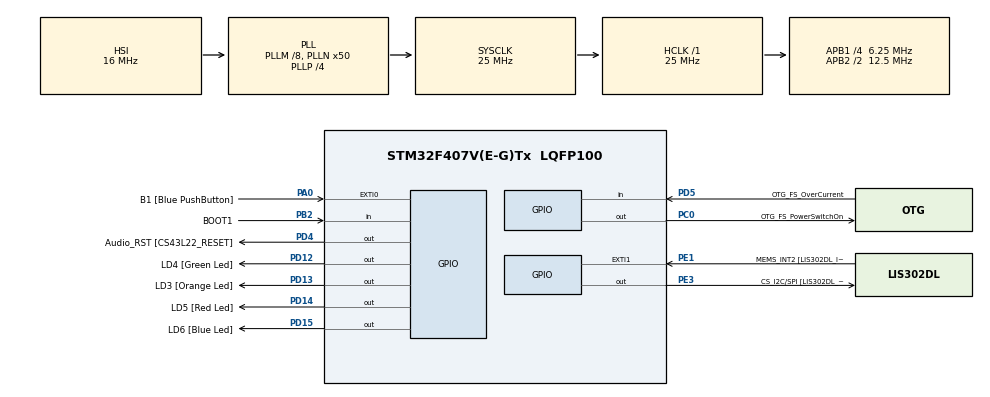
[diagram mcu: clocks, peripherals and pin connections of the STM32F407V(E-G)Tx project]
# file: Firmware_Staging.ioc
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Mcu.Family=STM32F4
Mcu.Name=STM32F407V(E-G)Tx
Mcu.Package=LQFP100
NVIC.PriorityGroup=NVIC_PRIORITYGROUP_0
PA0-WKUP.GPIO_Label=B1 [Blue PushButton]
PA0-WKUP.Signal=GPXTI0
PA10.GPIO_Label=OTG_FS_ID
PA10.GPIO_Mode=GPIO_MODE_AF_PP
PA10.GPIO_PuPd=GPIO_NOPULL
PA10.GPIO_Speed=GPIO_SPEED_FREQ_LOW
PA10.Signal=USB_OTG_FS_ID
PA11.GPIO_Label=OTG_FS_DM
PA11.GPIO_Mode=GPIO_MODE_AF_PP
PA11.GPIO_PuPd=GPIO_NOPULL
PA11.GPIO_Speed=GPIO_SPEED_FREQ_LOW
PA11.Signal=USB_OTG_FS_DM
PA12.GPIO_Label=OTG_FS_DP
PA12.GPIO_Mode=GPIO_MODE_AF_PP
PA12.GPIO_PuPd=GPIO_NOPULL
PA12.GPIO_Speed=GPIO_SPEED_FREQ_LOW
PA12.Signal=USB_OTG_FS_DP
PA13.GPIO_Label=SWDIO
PA13.Signal=SYS_JTMS-SWDIO
PA14.GPIO_Label=SWCLK
PA14.Signal=SYS_JTCK-SWCLK
PA4.GPIO_Label=I2S3_WS [CS43L22_LRCK]
PA4.GPIO_Mode=GPIO_MODE_AF_PP
PA4.GPIO_PuPd=GPIO_NOPULL
PA4.GPIO_Speed=GPIO_SPEED_FREQ_LOW
PA4.Signal=I2S3_WS
PA5.GPIO_Label=SPI1_SCK [LIS302DL_SCL/SPC]
PA5.GPIO_Mode=GPIO_MODE_AF_PP
PA5.GPIO_PuPd=GPIO_NOPULL
PA5.GPIO_Speed=GPIO_SPEED_FREQ_LOW
PA5.Signal=SPI1_SCK
PA6.GPIO_Label=SPI1_MISO [LIS302DL_SDO]
PA6.GPIO_Mode=GPIO_MODE_AF_PP
PA6.GPIO_PuPd=GPIO_NOPULL
PA6.GPIO_Speed=GPIO_SPEED_FREQ_LOW
PA6.Signal=SPI1_MISO
PA7.GPIO_Label=SPI1_MOSI [LIS302DL_SDA/SDI/SDO]
PA7.GPIO_Mode=GPIO_MODE_AF_PP
PA7.GPIO_PuPd=GPIO_NOPULL
PA7.GPIO_Speed=GPIO_SPEED_FREQ_LOW
PA7.Signal=SPI1_MOSI
PA9.GPIO_Label=VBUS_FS
PA9.GPIO_Mode=GPIO_MODE_INPUT
PA9.GPIO_PuPd=GPIO_NOPULL
PA9.Signal=USB_OTG_FS_VBUS
PB10.GPIO_Label=CLK_IN [MP45DT02_CLK]
PB10.GPIO_Mode=GPIO_MODE_AF_PP
PB10.GPIO_PuPd=GPIO_NOPULL
PB10.GPIO_Speed=GPIO_SPEED_FREQ_LOW
PB10.Signal=I2S2_CK
PB2.GPIO_Label=BOOT1
PB2.GPIO_Mode=GPIO_MODE_INPUT
PB2.GPIO_PuPd=GPIO_NOPULL
PB2.Signal=GPIO_Input
PB3.GPIO_Label=SWO
PB3.Signal=SYS_JTDO-SWO
PB6.GPIO_Label=Audio_SCL [CS43L22_SCL]
PB6.GPIO_Mode=GPIO_MODE_AF_OD
PB6.GPIO_PuPd=GPIO_NOPULL
PB6.GPIO_Speed=GPIO_SPEED_FREQ_LOW
PB6.Signal=I2C1_SCL
PB9.GPIO_Label=Audio_SDA [CS43L22_SDA]
PB9.GPIO_Mode=GPIO_MODE_AF_OD
PB9.GPIO_PuPd=GPIO_NOPULL
PB9.GPIO_Speed=GPIO_SPEED_FREQ_LOW
PB9.Signal=I2C1_SDA
PC0.GPIO_Label=OTG_FS_PowerSwitchOn
PC0.GPIO_PuPd=GPIO_NOPULL
PC0.GPIO_Speed=GPIO_SPEED_FREQ_LOW
PC0.PinState=GPIO_PIN_SET
PC0.Signal=GPIO_Output
PC10.GPIO_Label=I2S3_SCK [CS43L22_SCLK]
PC10.GPIO_Mode=GPIO_MODE_AF_PP
PC10.GPIO_PuPd=GPIO_NOPULL
PC10.GPIO_Speed=GPIO_SPEED_FREQ_LOW
PC10.Signal=I2S3_CK
PC12.GPIO_Label=I2S3_SD [CS43L22_SDIN]
PC12.GPIO_Mode=GPIO_MODE_AF_PP
PC12.GPIO_PuPd=GPIO_NOPULL
PC12.GPIO_Speed=GPIO_SPEED_FREQ_LOW
PC12.Signal=I2S3_SD
PC14-OSC32_IN.GPIO_Label=PC14-OSC32_IN
PC14-OSC32_IN.Signal=RCC_OSC32_IN
PC15-OSC32_OUT.GPIO_Label=PC15-OSC32_OUT
PC15-OSC32_OUT.Signal=RCC_OSC32_OUT
PC3.GPIO_Label=PDM_OUT [MP45DT02_DOUT]
PC3.GPIO_Mode=GPIO_MODE_AF_PP
PC3.GPIO_PuPd=GPIO_NOPULL
PC3.GPIO_Speed=GPIO_SPEED_FREQ_LOW
PC3.Signal=I2S2_SD
PC7.GPIO_Label=I2S3_MCK [CS43L22_MCLK]
PC7.GPIO_Mode=GPIO_MODE_AF_PP
PC7.GPIO_PuPd=GPIO_NOPULL
PC7.GPIO_Speed=GPIO_SPEED_FREQ_LOW
PC7.Signal=I2S3_MCK
PD12.GPIO_Label=LD4 [Green Led]
PD12.GPIO_PuPd=GPIO_NOPULL
PD12.GPIO_Speed=GPIO_SPEED_FREQ_LOW
PD12.Signal=GPIO_Output
PD13.GPIO_Label=LD3 [Orange Led]
PD13.GPIO_PuPd=GPIO_NOPULL
PD13.GPIO_Speed=GPIO_SPEED_FREQ_LOW
PD13.Signal=GPIO_Output
PD14.GPIO_Label=LD5 [Red Led]
PD14.GPIO_PuPd=GPIO_NOPULL
PD14.GPIO_Speed=GPIO_SPEED_FREQ_LOW
PD14.Signal=GPIO_Output
PD15.GPIO_Label=LD6 [Blue Led]
PD15.GPIO_PuPd=GPIO_NOPULL
PD15.GPIO_Speed=GPIO_SPEED_FREQ_LOW
PD15.Signal=GPIO_Output
PD4.GPIO_Label=Audio_RST [CS43L22_RESET]
PD4.GPIO_PuPd=GPIO_NOPULL
PD4.GPIO_Speed=GPIO_SPEED_FREQ_LOW
PD4.Signal=GPIO_Output
PD5.GPIO_Label=OTG_FS_OverCurrent
PD5.GPIO_Mode=GPIO_MODE_INPUT
PD5.GPIO_PuPd=GPIO_NOPULL
PD5.Signal=GPIO_Input
PE1.GPIO_Label=MEMS_INT2 [LIS302DL_INT2]
PE1.GPIO_ModeDefaultEXTI=GPIO_MODE_EVT_RISING
PE1.GPIO_PuPd=GPIO_NOPULL
PE1.Signal=GPXTI1
PE3.GPIO_Label=CS_I2C/SPI [LIS302DL_CS_I2C/SPI]
PE3.GPIO_PuPd=GPIO_NOPULL
PE3.GPIO_Speed=GPIO_SPEED_FREQ_LOW
PE3.Signal=GPIO_Output
PH0-OSC_IN.GPIO_Label=PH0-OSC_IN
PH0-OSC_IN.Signal=RCC_OSC_IN
PH1-OSC_OUT.GPIO_Label=PH1-OSC_OUT
PH1-OSC_OUT.Signal=RCC_OSC_OUT
ProjectManager.HeapSize=0x200
ProjectManager.StackSize=0x400
ProjectManager.TargetToolchain=STM32CubeIDE
RCC.48MHZClocksFreq_Value=14285714.285714285
RCC.AHBFreq_Value=25000000
RCC.APB1CLKDivider=RCC_HCLK_DIV4
RCC.APB1Freq_Value=6250000
RCC.APB1TimFreq_Value=12500000
RCC.APB2CLKDivider=RCC_HCLK_DIV2
RCC.APB2Freq_Value=12500000
RCC.APB2TimFreq_Value=25000000
RCC.CortexFreq_Value=25000000
RCC.HCLKFreq_Value=25000000
RCC.HSE_VALUE=8000000
RCC.HSI_VALUE=16000000
RCC.LSE_VALUE=32768
RCC.PLLM=8
RCC.PLLN=50
RCC.PLLP=RCC_PLLP_DIV4
RCC.PLLQ=7
RCC.SYSCLKFreq_VALUE=25000000
RCC.SYSCLKSource=RCC_SYSCLKSOURCE_PLLCLK
RCC.VCOOutputFreq_Value=100000000
VP_CRC_VS_CRC.Mode=CRC_Activate
VP_IWDG_VS_IWDG.Mode=IWDG_Activate
board=STM32F407G-DISC1

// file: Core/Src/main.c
/* USER CODE BEGIN Header */
/**
  ******************************************************************************
  * @file           : main.c
  * @brief          : Main program body
  ******************************************************************************
  * @attention
  *
  * Copyright (c) 2026 STMicroelectronics.
  * All rights reserved.
  *
  * This software is licensed under terms that can be found in the LICENSE file
  * in the root directory of this software component.
  * If no LICENSE file comes with this software, it is provided AS-IS.
  *
  ******************************************************************************
  */
/* USER CODE END Header */
#include "main.h"

/* USER CODE BEGIN Includes */
#include <stdio.h>
#include <string.h>
#include <stdint.h>
#include "metadata.h"
#include "flash_storage.h"
/* USER CODE END Includes */

CRC_HandleTypeDef hcrc;

IWDG_HandleTypeDef hiwdg;

void SystemClock_Config(void);
static void MX_GPIO_Init(void);
static void MX_CRC_Init(void);
static void MX_IWDG_Init(void);
/* USER CODE BEGIN PFP */
static HAL_StatusTypeDef Firmware_Confirm(void);
/* USER CODE END PFP */

/* USER CODE BEGIN 0 */
int __io_putchar(int ch)
{
    ITM_SendChar((uint32_t)ch);
    return ch;
}
/* USER CODE END 0 */

int main(void)
{

  /* USER CODE BEGIN 1 */
  bool firmware_confirmed = false;
  bool New_Update_Available = false;
  /* USER CODE END 1 */

  /* MCU Configuration--------------------------------------------------------*/

  /* Reset of all peripherals, Initializes the Flash interface and the Systick. */
  HAL_Init();

  /* Configure the system clock */
  SystemClock_Config();

  /* Initialize all configured peripherals */
  MX_GPIO_Init();
  MX_CRC_Init();
  MX_IWDG_Init();
  /* USER CODE BEGIN 2 */
  if (Firmware_Confirm() != HAL_OK)
  {
      printf("\r\n[%s] Firmware confirmation failed", CURRENT_SLOT_NAME);
      printf("\r\n[%s] Resetting firmware", CURRENT_SLOT_NAME);

      NVIC_SystemReset();

      while (1)
      {
          /* Wait for reset */
      }
  }

  firmware_confirmed = true;
  /* USER CODE END 2 */

  /* Infinite loop */
  while (1)
  {

    /* USER CODE BEGIN 3 */
	if (HAL_GPIO_ReadPin(B1_GPIO_Port, USER_BUTTON) == GPIO_PIN_SET)
	{
	    HAL_Delay(50);  /* debounce */

	    if (HAL_GPIO_ReadPin(B1_GPIO_Port, USER_BUTTON) == GPIO_PIN_SET)
	    {
	        New_Update_Available = true;

	        printf("\r\n[%s] New Update Available", CURRENT_SLOT_NAME);

	        while (HAL_GPIO_ReadPin(B1_GPIO_Port, USER_BUTTON) == GPIO_PIN_SET)
	        {
	            /* Wait for button release */
	        }
	    }
    }

	if(New_Update_Available){
		printf("\r\n[%s] New Update Available\r\n", CURRENT_SLOT_NAME);
		New_Update_Available = false;

		NVIC_SystemReset();
	}

	if (firmware_confirmed)
	{
		HAL_IWDG_Refresh(&hiwdg);
	}

	HAL_GPIO_TogglePin(GPIOD, ORANGE_LED);
    HAL_Delay(250);
  }
  /* USER CODE END 3 */
}

void SystemClock_Config(void)
{
  RCC_OscInitTypeDef RCC_OscInitStruct = {0};
  RCC_ClkInitTypeDef RCC_ClkInitStruct = {0};

  /** Configure the main internal regulator output voltage
  */
  __HAL_RCC_PWR_CLK_ENABLE();
  __HAL_PWR_VOLTAGESCALING_CONFIG(PWR_REGULATOR_VOLTAGE_SCALE1);

  /** Initializes the RCC Oscillators according to the specified parameters
  * in the RCC_OscInitTypeDef structure.
  */
  RCC_OscInitStruct.OscillatorType = RCC_OSCILLATORTYPE_HSI|RCC_OSCILLATORTYPE_LSI;
  RCC_OscInitStruct.HSIState = RCC_HSI_ON;
  RCC_OscInitStruct.HSICalibrationValue = RCC_HSICALIBRATION_DEFAULT;
  RCC_OscInitStruct.LSIState = RCC_LSI_ON;
  RCC_OscInitStruct.PLL.PLLState = RCC_PLL_ON;
  RCC_OscInitStruct.PLL.PLLSource = RCC_PLLSOURCE_HSI;
  RCC_OscInitStruct.PLL.PLLM = 8;
  RCC_OscInitStruct.PLL.PLLN = 50;
  RCC_OscInitStruct.PLL.PLLP = RCC_PLLP_DIV4;
  RCC_OscInitStruct.PLL.PLLQ = 7;
  if (HAL_RCC_OscConfig(&RCC_OscInitStruct) != HAL_OK)
  {
    Error_Handler();
  }

  /** Initializes the CPU, AHB and APB buses clocks
  */
  RCC_ClkInitStruct.ClockType = RCC_CLOCKTYPE_HCLK|RCC_CLOCKTYPE_SYSCLK
                              |RCC_CLOCKTYPE_PCLK1|RCC_CLOCKTYPE_PCLK2;
  RCC_ClkInitStruct.SYSCLKSource = RCC_SYSCLKSOURCE_PLLCLK;
  RCC_ClkInitStruct.AHBCLKDivider = RCC_SYSCLK_DIV1;
  RCC_ClkInitStruct.APB1CLKDivider = RCC_HCLK_DIV4;
  RCC_ClkInitStruct.APB2CLKDivider = RCC_HCLK_DIV2;

  if (HAL_RCC_ClockConfig(&RCC_ClkInitStruct, FLASH_LATENCY_0) != HAL_OK)
  {
    Error_Handler();
  }
}

static void MX_CRC_Init(void)
{

  hcrc.Instance = CRC;
  if (HAL_CRC_Init(&hcrc) != HAL_OK)
  {
    Error_Handler();
  }

}

static void MX_IWDG_Init(void)
{

  hiwdg.Instance = IWDG;
  hiwdg.Init.Prescaler = IWDG_PRESCALER_4;
  hiwdg.Init.Reload = 4095;
  if (HAL_IWDG_Init(&hiwdg) != HAL_OK)
  {
    Error_Handler();
  }

}

static void MX_GPIO_Init(void)
{
  GPIO_InitTypeDef GPIO_InitStruct = {0};

  /* GPIO Ports Clock Enable */
  __HAL_RCC_GPIOE_CLK_ENABLE();
  __HAL_RCC_GPIOC_CLK_ENABLE();
  __HAL_RCC_GPIOH_CLK_ENABLE();
  __HAL_RCC_GPIOA_CLK_ENABLE();
  __HAL_RCC_GPIOB_CLK_ENABLE();
  __HAL_RCC_GPIOD_CLK_ENABLE();

  /*Configure GPIO pin Output Level */
  HAL_GPIO_WritePin(CS_I2C_SPI_GPIO_Port, CS_I2C_SPI_Pin, GPIO_PIN_RESET);

  /*Configure GPIO pin Output Level */
  HAL_GPIO_WritePin(OTG_FS_PowerSwitchOn_GPIO_Port, OTG_FS_PowerSwitchOn_Pin, GPIO_PIN_SET);

  /*Configure GPIO pin Output Level */
  HAL_GPIO_WritePin(GPIOD, LD4_Pin|LD3_Pin|LD5_Pin|LD6_Pin
                          |Audio_RST_Pin, GPIO_PIN_RESET);

  /*Configure GPIO pin : CS_I2C_SPI_Pin */
  GPIO_InitStruct.Pin = CS_I2C_SPI_Pin;
  GPIO_InitStruct.Mode = GPIO_MODE_OUTPUT_PP;
  GPIO_InitStruct.Pull = GPIO_NOPULL;
  GPIO_InitStruct.Speed = GPIO_SPEED_FREQ_LOW;
  HAL_GPIO_Init(CS_I2C_SPI_GPIO_Port, &GPIO_InitStruct);

  /*Configure GPIO pin : OTG_FS_PowerSwitchOn_Pin */
  GPIO_InitStruct.Pin = OTG_FS_PowerSwitchOn_Pin;
  GPIO_InitStruct.Mode = GPIO_MODE_OUTPUT_PP;
  GPIO_InitStruct.Pull = GPIO_NOPULL;
  GPIO_InitStruct.Speed = GPIO_SPEED_FREQ_LOW;
  HAL_GPIO_Init(OTG_FS_PowerSwitchOn_GPIO_Port, &GPIO_InitStruct);

  /*Configure GPIO pin : PDM_OUT_Pin */
  GPIO_InitStruct.Pin = PDM_OUT_Pin;
  GPIO_InitStruct.Mode = GPIO_MODE_AF_PP;
  GPIO_InitStruct.Pull = GPIO_NOPULL;
  GPIO_InitStruct.Speed = GPIO_SPEED_FREQ_LOW;
  GPIO_InitStruct.Alternate = GPIO_AF5_SPI2;
  HAL_GPIO_Init(PDM_OUT_GPIO_Port, &GPIO_InitStruct);

  /*Configure GPIO pin : B1_Pin */
  GPIO_InitStruct.Pin = B1_Pin;
  GPIO_InitStruct.Mode = GPIO_MODE_IT_RISING;
  GPIO_InitStruct.Pull = GPIO_NOPULL;
  HAL_GPIO_Init(B1_GPIO_Port, &GPIO_InitStruct);

  /*Configure GPIO pin : I2S3_WS_Pin */
  GPIO_InitStruct.Pin = I2S3_WS_Pin;
  GPIO_InitStruct.Mode = GPIO_MODE_AF_PP;
  GPIO_InitStruct.Pull = GPIO_NOPULL;
  GPIO_InitStruct.Speed = GPIO_SPEED_FREQ_LOW;
  GPIO_InitStruct.Alternate = GPIO_AF6_SPI3;
  HAL_GPIO_Init(I2S3_WS_GPIO_Port, &GPIO_InitStruct);

  /*Configure GPIO pins : SPI1_SCK_Pin SPI1_MISO_Pin SPI1_MOSI_Pin */
  GPIO_InitStruct.Pin = SPI1_SCK_Pin|SPI1_MISO_Pin|SPI1_MOSI_Pin;
  GPIO_InitStruct.Mode = GPIO_MODE_AF_PP;
  GPIO_InitStruct.Pull = GPIO_NOPULL;
  GPIO_InitStruct.Speed = GPIO_SPEED_FREQ_LOW;
  GPIO_InitStruct.Alternate = GPIO_AF5_SPI1;
  HAL_GPIO_Init(GPIOA, &GPIO_InitStruct);

  /*Configure GPIO pin : BOOT1_Pin */
  GPIO_InitStruct.Pin = BOOT1_Pin;
  GPIO_InitStruct.Mode = GPIO_MODE_INPUT;
  GPIO_InitStruct.Pull = GPIO_NOPULL;
  HAL_GPIO_Init(BOOT1_GPIO_Port, &GPIO_InitStruct);

  /*Configure GPIO pin : CLK_IN_Pin */
  GPIO_InitStruct.Pin = CLK_IN_Pin;
  GPIO_InitStruct.Mode = GPIO_MODE_AF_PP;
  GPIO_InitStruct.Pull = GPIO_NOPULL;
  GPIO_InitStruct.Speed = GPIO_SPEED_FREQ_LOW;
  GPIO_InitStruct.Alternate = GPIO_AF5_SPI2;
  HAL_GPIO_Init(CLK_IN_GPIO_Port, &GPIO_InitStruct);

  /*Configure GPIO pins : LD4_Pin LD3_Pin LD5_Pin LD6_Pin
                           Audio_RST_Pin */
  GPIO_InitStruct.Pin = LD4_Pin|LD3_Pin|LD5_Pin|LD6_Pin
                          |Audio_RST_Pin;
  GPIO_InitStruct.Mode = GPIO_MODE_OUTPUT_PP;
  GPIO_InitStruct.Pull = GPIO_NOPULL;
  GPIO_InitStruct.Speed = GPIO_SPEED_FREQ_LOW;
  HAL_GPIO_Init(GPIOD, &GPIO_InitStruct);

  /*Configure GPIO pins : I2S3_MCK_Pin I2S3_SCK_Pin I2S3_SD_Pin */
  GPIO_InitStruct.Pin = I2S3_MCK_Pin|I2S3_SCK_Pin|I2S3_SD_Pin;
  GPIO_InitStruct.Mode = GPIO_MODE_AF_PP;
  GPIO_InitStruct.Pull = GPIO_NOPULL;
  GPIO_InitStruct.Speed = GPIO_SPEED_FREQ_LOW;
  GPIO_InitStruct.Alternate = GPIO_AF6_SPI3;
  HAL_GPIO_Init(GPIOC, &GPIO_InitStruct);

  /*Configure GPIO pin : VBUS_FS_Pin */
  GPIO_InitStruct.Pin = VBUS_FS_Pin;
  GPIO_InitStruct.Mode = GPIO_MODE_INPUT;
  GPIO_InitStruct.Pull = GPIO_NOPULL;
  HAL_GPIO_Init(VBUS_FS_GPIO_Port, &GPIO_InitStruct);

  /*Configure GPIO pins : OTG_FS_ID_Pin OTG_FS_DM_Pin OTG_FS_DP_Pin */
  GPIO_InitStruct.Pin = OTG_FS_ID_Pin|OTG_FS_DM_Pin|OTG_FS_DP_Pin;
  GPIO_InitStruct.Mode = GPIO_MODE_AF_PP;
  GPIO_InitStruct.Pull = GPIO_NOPULL;
  GPIO_InitStruct.Speed = GPIO_SPEED_FREQ_LOW;
  GPIO_InitStruct.Alternate = GPIO_AF10_OTG_FS;
  HAL_GPIO_Init(GPIOA, &GPIO_InitStruct);

  /*Configure GPIO pin : OTG_FS_OverCurrent_Pin */
  GPIO_InitStruct.Pin = OTG_FS_OverCurrent_Pin;
  GPIO_InitStruct.Mode = GPIO_MODE_INPUT;
  GPIO_InitStruct.Pull = GPIO_NOPULL;
  HAL_GPIO_Init(OTG_FS_OverCurrent_GPIO_Port, &GPIO_InitStruct);

  /*Configure GPIO pins : Audio_SCL_Pin Audio_SDA_Pin */
  GPIO_InitStruct.Pin = Audio_SCL_Pin|Audio_SDA_Pin;
  GPIO_InitStruct.Mode = GPIO_MODE_AF_OD;
  GPIO_InitStruct.Pull = GPIO_NOPULL;
  GPIO_InitStruct.Speed = GPIO_SPEED_FREQ_LOW;
  GPIO_InitStruct.Alternate = GPIO_AF4_I2C1;
  HAL_GPIO_Init(GPIOB, &GPIO_InitStruct);

  /*Configure GPIO pin : MEMS_INT2_Pin */
  GPIO_InitStruct.Pin = MEMS_INT2_Pin;
  GPIO_InitStruct.Mode = GPIO_MODE_EVT_RISING;
  GPIO_InitStruct.Pull = GPIO_NOPULL;
  HAL_GPIO_Init(MEMS_INT2_GPIO_Port, &GPIO_InitStruct);

}

/* USER CODE BEGIN 4 */
static HAL_StatusTypeDef Firmware_Confirm(void)
{
    firmware_metadata_record_t latest_record;
    firmware_metadata_t confirmed_metadata;
    HAL_StatusTypeDef status;

    if (!Metadata_ReadLatestRecord(
            TARGET_METADATA_ADDRESS,
            TARGET_METADATA_REGION_END,
            &latest_record))
    {
        printf("\r\n[%s] Metadata read failed\r\n", CURRENT_SLOT_NAME);
        return HAL_ERROR;
    }

    if (latest_record.metadata.update_state ==
        FIRMWARE_STATE_CONFIRMED)
    {
        printf("\r\n[%s] Firmware already CONFIRMED\r\n", CURRENT_SLOT_NAME);
        return HAL_OK;
    }

    if (latest_record.metadata.update_state !=
        FIRMWARE_STATE_BOOT_PENDING)
    {
        printf(
            "\r\n[%s] Firmware is not BOOT_PENDING, state: %lu\r\n", CURRENT_SLOT_NAME,
            (unsigned long)latest_record.metadata.update_state);
        return HAL_ERROR;
    }

    printf("\r\n[%s] Trial firmware detected\r\n", CURRENT_SLOT_NAME);

    confirmed_metadata = latest_record.metadata;
    confirmed_metadata.update_state = FIRMWARE_STATE_CONFIRMED;

    status = Metadata_WriteRecord(
        TARGET_METADATA_ADDRESS,
        TARGET_METADATA_REGION_END,
        TARGET_METADATA_SECTOR,
        FLASH_VOLTAGE_RANGE_3,
        &confirmed_metadata);

    if (status != HAL_OK)
    {
        printf("\r\n[%s] Confirmation write failed\r\n", CURRENT_SLOT_NAME);
        return HAL_ERROR;
    }

    if (!Metadata_ReadLatestRecord(
            TARGET_METADATA_ADDRESS,
            TARGET_METADATA_REGION_END,
            &latest_record))
    {
        printf("\r\n[%s] Confirmation verification failed\r\n", CURRENT_SLOT_NAME);
        return HAL_ERROR;
    }

    if (latest_record.metadata.update_state !=
        FIRMWARE_STATE_CONFIRMED)
    {
        printf("\r\n[%s] Confirmation state mismatch\r\n", CURRENT_SLOT_NAME);
        return HAL_ERROR;
    }

    printf("\r\n[%s] Firmware CONFIRMED\r\n", CURRENT_SLOT_NAME);

    return HAL_OK;
}
/* USER CODE END 4 */

void Error_Handler(void)
{
  __disable_irq();
  while (1)
  {
  }
}
